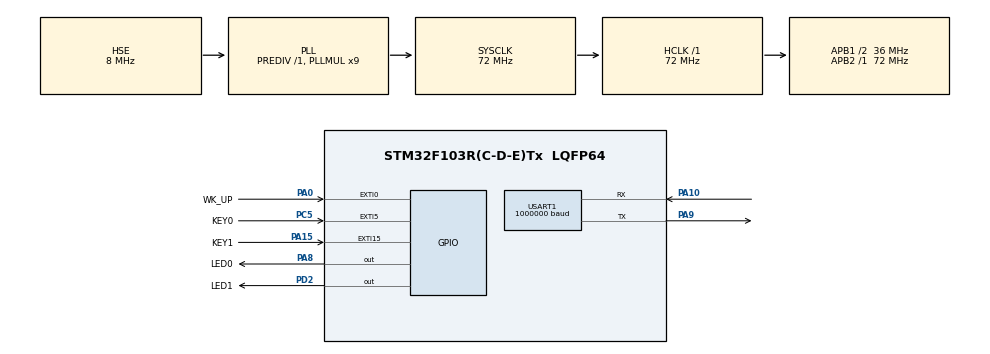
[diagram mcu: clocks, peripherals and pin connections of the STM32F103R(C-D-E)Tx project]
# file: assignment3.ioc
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Mcu.Family=STM32F1
Mcu.Name=STM32F103R(C-D-E)Tx
Mcu.Package=LQFP64
NVIC.EXTI0_IRQn=true\:1\:0\:true\:false\:true\:true\:true\:true
NVIC.EXTI15_10_IRQn=true\:1\:2\:true\:false\:true\:true\:true\:true
NVIC.EXTI9_5_IRQn=true\:1\:1\:true\:false\:true\:true\:true\:true
NVIC.PriorityGroup=NVIC_PRIORITYGROUP_2
NVIC.TIM3_IRQn=true\:1\:1\:true\:false\:true\:true\:true\:true
NVIC.USART1_IRQn=true\:0\:0\:true\:false\:true\:true\:true\:true
PA0-WKUP.GPIO_Label=WK_UP
PA0-WKUP.GPIO_PuPd=GPIO_PULLDOWN
PA0-WKUP.Signal=GPXTI0
PA10.Mode=Asynchronous
PA10.Signal=USART1_RX
PA13.Mode=Serial_Wire
PA13.Signal=SYS_JTMS-SWDIO
PA14.Mode=Serial_Wire
PA14.Signal=SYS_JTCK-SWCLK
PA15.GPIO_Label=KEY1
PA15.GPIO_ModeDefaultEXTI=GPIO_MODE_IT_FALLING
PA15.GPIO_PuPd=GPIO_PULLUP
PA15.Signal=GPXTI15
PA8.GPIO_Label=LED0
PA8.PinState=GPIO_PIN_SET
PA8.Signal=GPIO_Output
PA9.Mode=Asynchronous
PA9.Signal=USART1_TX
PC5.GPIO_Label=KEY0
PC5.GPIO_ModeDefaultEXTI=GPIO_MODE_IT_FALLING
PC5.GPIO_PuPd=GPIO_PULLUP
PC5.Signal=GPXTI5
PD0-OSC_IN.Mode=HSE-External-Oscillator
PD0-OSC_IN.Signal=RCC_OSC_IN
PD1-OSC_OUT.Mode=HSE-External-Oscillator
PD1-OSC_OUT.Signal=RCC_OSC_OUT
PD2.GPIO_Label=LED1
PD2.PinState=GPIO_PIN_SET
PD2.Signal=GPIO_Output
ProjectManager.HeapSize=0x200
ProjectManager.StackSize=0x400
ProjectManager.TargetToolchain=STM32CubeIDE
RCC.AHBFreq_Value=72000000
RCC.APB1CLKDivider=RCC_HCLK_DIV2
RCC.APB1Freq_Value=36000000
RCC.APB1TimFreq_Value=72000000
RCC.APB2Freq_Value=72000000
RCC.APB2TimFreq_Value=72000000
RCC.HCLKFreq_Value=72000000
RCC.PLLMUL=RCC_PLL_MUL9
RCC.PLLSourceVirtual=RCC_PLLSOURCE_HSE
RCC.SYSCLKFreq_VALUE=72000000
RCC.SYSCLKSource=RCC_SYSCLKSOURCE_PLLCLK
RCC.USBFreq_Value=72000000
TIM3.Period=9999
TIM3.Prescaler=7199
USART1.BaudRate=1000000
USART1.VirtualMode=VM_ASYNC
VP_TIM3_VS_ClockSourceINT.Mode=Internal
board=custom

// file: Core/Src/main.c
/* USER CODE BEGIN Header */
/**
  ******************************************************************************
  * @file           : main.c
  * @brief          : Main program body
  ******************************************************************************
  * @attention
  *
  * <h2><center>&copy; Copyright (c) 2024 STMicroelectronics.
  * All rights reserved.</center></h2>
  *
  * This software component is licensed by ST under BSD 3-Clause license,
  * the "License"; You may not use this file except in compliance with the
  * License. You may obtain a copy of the License at:
  *                        opensource.org/licenses/BSD-3-Clause
  *
  ******************************************************************************
  */
/* USER CODE END Header */
#include "main.h"
#include "tim.h"
#include "usart.h"
#include "gpio.h"

/* USER CODE BEGIN Includes */
#include "lcd.h"

/* USER CODE END Includes */

/* USER CODE BEGIN PM */

/*@Notice: This file is generated by Image2Display, keep this comment to import image next time */
/*@Size: 16x16, 01000 */
extern const uint8_t start_img[] = {
0xFF,0xFF,0xFF,0xFF,0xFF,0xFF,0xFF,0xFF,0xFF,0xFF,0xFF,0xFF,0xFF,0xFF,0xFF,0xFF,
0xFF,0xFF,0xFF,0xFF,0xFF,0xFF,0xFF,0xFF,0xFF,0xFF,0xFF,0xFF,0xFF,0xFF,0xFF,0xFF,
0xFF,0xFF,0xFF,0xFF,0xBE,0xF7,0xEF,0xBD,0xFF,0xFF,0xFF,0xFF,0xFF,0xFF,0xFF,0xFF,
0xFF,0xFF,0xFF,0xFF,0xFF,0xFF,0xFF,0xFF,0xFF,0xFF,0xFF,0xFF,0xFF,0xFF,0xFF,0xFF,
0xFF,0xFF,0xFF,0xFF,0xAA,0xB5,0x00,0x00,0xE3,0x9C,0x9A,0x73,0xFF,0xFF,0xFF,0xFF,
0xFF,0xFF,0xFF,0xFF,0xFF,0xFF,0xFF,0xFF,0xFF,0xFF,0xFF,0xFF,0xFF,0xFF,0xFF,0xFF,
0xFF,0xFF,0xFF,0xFF,0xAA,0xB5,0x00,0x00,0x00,0x00,0x00,0x00,0x96,0x52,0xDB,0x7B,
0xFF,0xFF,0xFF,0xFF,0xFF,0xFF,0xFF,0xFF,0xFF,0xFF,0xFF,0xFF,0xFF,0xFF,0xFF,0xFF,
0xFF,0xFF,0xFF,0xFF,0xAA,0xB5,0x00,0x00,0x00,0x00,0x00,0x00,0x00,0x00,0x00,0x00,
0x34,0xC6,0xBE,0xF7,0xFF,0xFF,0xFF,0xFF,0xFF,0xFF,0xFF,0xFF,0xFF,0xFF,0xFF,0xFF,
0xFF,0xFF,0xFF,0xFF,0xAA,0xB5,0x00,0x00,0x00,0x00,0x00,0x00,0x00,0x00,0x00,0x00,
0x00,0x00,0x00,0x00,0x8A,0x31,0xBE,0xF7,0xFF,0xFF,0xFF,0xFF,0xFF,0xFF,0xFF,0xFF,
0xFF,0xFF,0xFF,0xFF,0xAA,0xB5,0x00,0x00,0x00,0x00,0x00,0x00,0x00,0x00,0x00,0x00,
0x00,0x00,0x00,0x00,0x00,0x00,0xC3,0x18,0xCB,0x39,0xFF,0xFF,0xFF,0xFF,0xFF,0xFF,
0xFF,0xFF,0xFF,0xFF,0xAA,0xB5,0x00,0x00,0x00,0x00,0x00,0x00,0x00,0x00,0x00,0x00,
0x00,0x00,0x00,0x00,0x00,0x00,0x00,0x00,0x00,0x00,0xE3,0x9C,0xDB,0x7B,0xFF,0xFF,
0xFF,0xFF,0xFF,0xFF,0xAA,0xB5,0x00,0x00,0x00,0x00,0x00,0x00,0x00,0x00,0x00,0x00,
0x00,0x00,0x00,0x00,0x00,0x00,0x00,0x00,0x00,0x00,0xE3,0x9C,0xDB,0x7B,0xFF,0xFF,
0xFF,0xFF,0xFF,0xFF,0xAA,0xB5,0x00,0x00,0x00,0x00,0x00,0x00,0x00,0x00,0x00,0x00,
0x00,0x00,0x00,0x00,0x00,0x00,0xC3,0x18,0xCB,0x39,0xFF,0xFF,0xFF,0xFF,0xFF,0xFF,
0xFF,0xFF,0xFF,0xFF,0xAA,0xB5,0x00,0x00,0x00,0x00,0x00,0x00,0x00,0x00,0x00,0x00,
0x00,0x00,0xC3,0x18,0x8A,0x31,0xFF,0xFF,0xFF,0xFF,0xFF,0xFF,0xFF,0xFF,0xFF,0xFF,
0xFF,0xFF,0xFF,0xFF,0xAA,0xB5,0x00,0x00,0x00,0x00,0x00,0x00,0x00,0x00,0x00,0x00,
0x34,0xC6,0xBE,0xF7,0xFF,0xFF,0xFF,0xFF,0xFF,0xFF,0xFF,0xFF,0xFF,0xFF,0xFF,0xFF,
0xFF,0xFF,0xFF,0xFF,0xAA,0xB5,0x00,0x00,0x00,0x00,0x00,0x00,0x55,0x4A,0xDB,0x7B,
0xFF,0xFF,0xFF,0xFF,0xFF,0xFF,0xFF,0xFF,0xFF,0xFF,0xFF,0xFF,0xFF,0xFF,0xFF,0xFF,
0xFF,0xFF,0xFF,0xFF,0xAA,0xB5,0x00,0x00,0xE3,0x9C,0x9A,0x73,0xFF,0xFF,0xFF,0xFF,
0xFF,0xFF,0xFF,0xFF,0xFF,0xFF,0xFF,0xFF,0xFF,0xFF,0xFF,0xFF,0xFF,0xFF,0xFF,0xFF,
0xFF,0xFF,0xFF,0xFF,0xBE,0xF7,0xEF,0xBD,0xFF,0xFF,0xFF,0xFF,0xFF,0xFF,0xFF,0xFF,
0xFF,0xFF,0xFF,0xFF,0xFF,0xFF,0xFF,0xFF,0xFF,0xFF,0xFF,0xFF,0xFF,0xFF,0xFF,0xFF,
0xFF,0xFF,0xFF,0xFF,0xFF,0xFF,0xFF,0xFF,0xFF,0xFF,0xFF,0xFF,0xFF,0xFF,0xFF,0xFF,
0xFF,0xFF,0xFF,0xFF,0xFF,0xFF,0xFF,0xFF,0xFF,0xFF,0xFF,0xFF,0xFF,0xFF,0xFF,0xFF,
};

extern const uint8_t pause_img[] = {
0xFF,0xFF,0xFF,0xFF,0xFF,0xFF,0xFF,0xFF,0xFF,0xFF,0xFF,0xFF,0xFF,0xFF,0xFF,0xFF,
0xFF,0xFF,0xFF,0xFF,0xFF,0xFF,0xFF,0xFF,0xFF,0xFF,0xFF,0xFF,0xFF,0xFF,0xFF,0xFF,
0xFF,0xFF,0xFF,0xFF,0xFF,0xFF,0xFF,0xFF,0xFF,0xFF,0xFF,0xFF,0xFF,0xFF,0xFF,0xFF,
0xFF,0xFF,0xFF,0xFF,0xFF,0xFF,0xFF,0xFF,0xFF,0xFF,0xFF,0xFF,0xFF,0xFF,0xFF,0xFF,
0xFF,0xFF,0xFF,0xFF,0xFF,0xFF,0x4D,0x29,0x45,0x08,0x45,0x08,0xFF,0xFF,0xFF,0xFF,
0xFF,0xFF,0xFF,0xFF,0x45,0x08,0x45,0x08,0x4D,0x29,0xFF,0xFF,0xFF,0xFF,0xFF,0xFF,
0xFF,0xFF,0xFF,0xFF,0xFF,0xFF,0x45,0x08,0x45,0x08,0x45,0x08,0x4D,0x29,0xFF,0xFF,
0xFF,0xFF,0x4D,0x29,0x45,0x08,0x45,0x08,0x45,0x08,0xFF,0xFF,0xFF,0xFF,0xFF,0xFF,
0xFF,0xFF,0xFF,0xFF,0xFF,0xFF,0x45,0x08,0x45,0x08,0x45,0x08,0x4D,0x29,0xFF,0xFF,
0xFF,0xFF,0x4D,0x29,0x45,0x08,0x45,0x08,0x45,0x08,0xFF,0xFF,0xFF,0xFF,0xFF,0xFF,
0xFF,0xFF,0xFF,0xFF,0xFF,0xFF,0x45,0x08,0x45,0x08,0x45,0x08,0x4D,0x29,0xFF,0xFF,
0xFF,0xFF,0x4D,0x29,0x45,0x08,0x45,0x08,0x45,0x08,0xFF,0xFF,0xFF,0xFF,0xFF,0xFF,
0xFF,0xFF,0xFF,0xFF,0xFF,0xFF,0x45,0x08,0x45,0x08,0x45,0x08,0x4D,0x29,0xFF,0xFF,
0xFF,0xFF,0x4D,0x29,0x45,0x08,0x45,0x08,0x45,0x08,0xFF,0xFF,0xFF,0xFF,0xFF,0xFF,
0xFF,0xFF,0xFF,0xFF,0xFF,0xFF,0x45,0x08,0x45,0x08,0x45,0x08,0x4D,0x29,0xFF,0xFF,
0xFF,0xFF,0x4D,0x29,0x45,0x08,0x45,0x08,0x45,0x08,0xFF,0xFF,0xFF,0xFF,0xFF,0xFF,
0xFF,0xFF,0xFF,0xFF,0xFF,0xFF,0x45,0x08,0x45,0x08,0x45,0x08,0x4D,0x29,0xFF,0xFF,
0xFF,0xFF,0x4D,0x29,0x45,0x08,0x45,0x08,0x45,0x08,0xFF,0xFF,0xFF,0xFF,0xFF,0xFF,
0xFF,0xFF,0xFF,0xFF,0xFF,0xFF,0x45,0x08,0x45,0x08,0x45,0x08,0x4D,0x29,0xFF,0xFF,
0xFF,0xFF,0x4D,0x29,0x45,0x08,0x45,0x08,0x45,0x08,0xFF,0xFF,0xFF,0xFF,0xFF,0xFF,
0xFF,0xFF,0xFF,0xFF,0xFF,0xFF,0x45,0x08,0x45,0x08,0x45,0x08,0x4D,0x29,0xFF,0xFF,
0xFF,0xFF,0x4D,0x29,0x45,0x08,0x45,0x08,0x45,0x08,0xFF,0xFF,0xFF,0xFF,0xFF,0xFF,
0xFF,0xFF,0xFF,0xFF,0xFF,0xFF,0x45,0x08,0x45,0x08,0x45,0x08,0x4D,0x29,0xFF,0xFF,
0xFF,0xFF,0x4D,0x29,0x45,0x08,0x45,0x08,0x45,0x08,0xFF,0xFF,0xFF,0xFF,0xFF,0xFF,
0xFF,0xFF,0xFF,0xFF,0xFF,0xFF,0x45,0x08,0x45,0x08,0x45,0x08,0x4D,0x29,0xFF,0xFF,
0xFF,0xFF,0x4D,0x29,0x45,0x08,0x45,0x08,0x45,0x08,0xFF,0xFF,0xFF,0xFF,0xFF,0xFF,
0xFF,0xFF,0xFF,0xFF,0xFF,0xFF,0x4D,0x29,0x45,0x08,0x45,0x08,0xFF,0xFF,0xFF,0xFF,
0xFF,0xFF,0xFF,0xFF,0x45,0x08,0x45,0x08,0x4D,0x29,0xFF,0xFF,0xFF,0xFF,0xFF,0xFF,
0xFF,0xFF,0xFF,0xFF,0xFF,0xFF,0xFF,0xFF,0xFF,0xFF,0xFF,0xFF,0xFF,0xFF,0xFF,0xFF,
0xFF,0xFF,0xFF,0xFF,0xFF,0xFF,0xFF,0xFF,0xFF,0xFF,0xFF,0xFF,0xFF,0xFF,0xFF,0xFF,
0xFF,0xFF,0xFF,0xFF,0xFF,0xFF,0xFF,0xFF,0xFF,0xFF,0xFF,0xFF,0xFF,0xFF,0xFF,0xFF,
0xFF,0xFF,0xFF,0xFF,0xFF,0xFF,0xFF,0xFF,0xFF,0xFF,0xFF,0xFF,0xFF,0xFF,0xFF,0xFF,
};

/* USER CODE END PM */

/* USER CODE BEGIN PV */
extern int frame_ready = 0;
extern uint16_t uRx_Data[2 * DIM_X * DIM_Y + 4] = {0xFFFF};
extern uint8_t scale = 1;
extern int seconds = 0;
extern uint8_t pause = 0;
extern int frame_count = 0;
extern int exited = 0;
/* USER CODE END PV */

void SystemClock_Config(void);

/* USER CODE BEGIN 0 */
extern char rxBuffer[20];
/* USER CODE END 0 */

int main(void)
{

  /* MCU Configuration--------------------------------------------------------*/

  /* Reset of all peripherals, Initializes the Flash interface and the Systick. */
  HAL_Init();

  /* Configure the system clock */
  SystemClock_Config();

  /* Initialize all configured peripherals */
  MX_GPIO_Init();
  MX_USART1_UART_Init();
  MX_TIM3_Init();
  /* USER CODE BEGIN 2 */
  lcd_init();
  HAL_TIM_Base_Start_IT(&htim3);
  HAL_UART_Receive_IT(&huart1, (uint8_t *) rxBuffer, 1);
  lcd_draw_rectangle(0, 0, 60 * scale - 1, 45 * scale - 1, BLACK);
  lcd_draw_line(10, 280, 230, 280, BLACK);
  lcd_color_fill(10, 290, 25, 305, start_img);
  /* USER CODE END 2 */

  /* Infinite loop */
  /* USER CODE BEGIN WHILE */
  while (1)
  {
	  if (frame_ready && !exited) {
		  lcd_color_fill_scale(0, 0, DIM_X - 1, DIM_Y - 1, uRx_Data + 1, scale);
		  frame_count++;
		  frame_ready = 0;
	  }
    /* USER CODE END WHILE */

  }
}

void SystemClock_Config(void)
{
  RCC_OscInitTypeDef RCC_OscInitStruct = {0};
  RCC_ClkInitTypeDef RCC_ClkInitStruct = {0};

  /** Initializes the RCC Oscillators according to the specified parameters
  * in the RCC_OscInitTypeDef structure.
  */
  RCC_OscInitStruct.OscillatorType = RCC_OSCILLATORTYPE_HSE;
  RCC_OscInitStruct.HSEState = RCC_HSE_ON;
  RCC_OscInitStruct.HSEPredivValue = RCC_HSE_PREDIV_DIV1;
  RCC_OscInitStruct.HSIState = RCC_HSI_ON;
  RCC_OscInitStruct.PLL.PLLState = RCC_PLL_ON;
  RCC_OscInitStruct.PLL.PLLSource = RCC_PLLSOURCE_HSE;
  RCC_OscInitStruct.PLL.PLLMUL = RCC_PLL_MUL9;
  if (HAL_RCC_OscConfig(&RCC_OscInitStruct) != HAL_OK)
  {
    Error_Handler();
  }
  /** Initializes the CPU, AHB and APB buses clocks
  */
  RCC_ClkInitStruct.ClockType = RCC_CLOCKTYPE_HCLK|RCC_CLOCKTYPE_SYSCLK
                              |RCC_CLOCKTYPE_PCLK1|RCC_CLOCKTYPE_PCLK2;
  RCC_ClkInitStruct.SYSCLKSource = RCC_SYSCLKSOURCE_PLLCLK;
  RCC_ClkInitStruct.AHBCLKDivider = RCC_SYSCLK_DIV1;
  RCC_ClkInitStruct.APB1CLKDivider = RCC_HCLK_DIV2;
  RCC_ClkInitStruct.APB2CLKDivider = RCC_HCLK_DIV1;

  if (HAL_RCC_ClockConfig(&RCC_ClkInitStruct, FLASH_LATENCY_2) != HAL_OK)
  {
    Error_Handler();
  }
}

void Error_Handler(void)
{
  __disable_irq();
  while (1)
  {
  }
}

/************************ (C) COPYRIGHT STMicroelectronics *****END OF FILE****/
